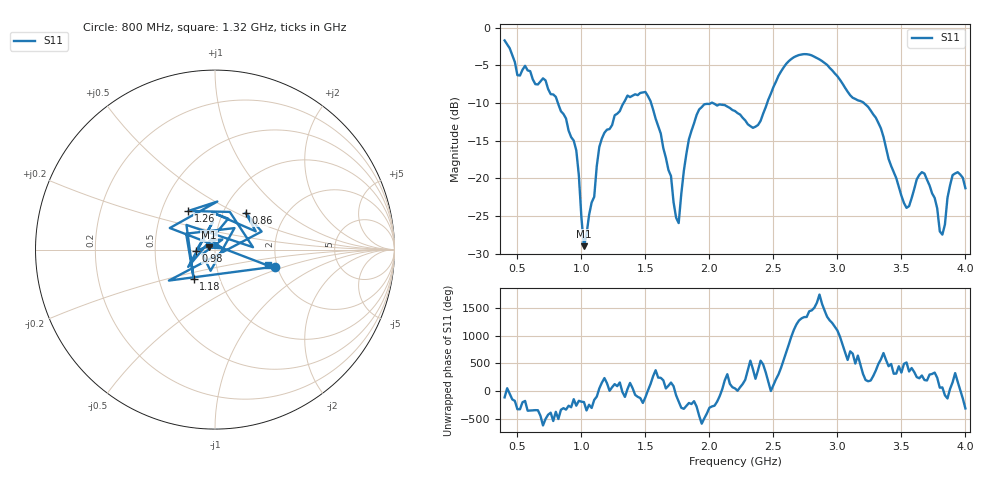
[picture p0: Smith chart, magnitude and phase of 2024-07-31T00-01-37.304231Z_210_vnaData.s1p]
!Created with skrf (http://scikit-rf.org).
# Hz S RI R 50.0
!freq ReS11 ImS11
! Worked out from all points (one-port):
!   181 points, 400 MHz to 4 GHz, reference 50 ohm
!   lowest |S11| = -29.0 dB at 1.02 GHz (marker M1), VSWR 1.07, Z = 46.8 + j1.12 ohm
!   |S11| at or under -10 dB: 816.2 MHz to 1.33 GHz (513.9 MHz wide, 47.9 % of centre); 1.544 GHz to 2.016 GHz (471.3 MHz wide, 26.5 % of centre); 3.206 GHz to end of sweep (the widest 3 of 4)
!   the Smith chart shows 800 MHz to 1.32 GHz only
!   S11 on the Smith chart (normalised r, x): 800 MHz: 1.94, -0.42; 860 MHz: 1.27, +0.56; 980 MHz: 0.81, -0.01; 1.18 GHz: 0.75, -0.25; 1.26 GHz: 0.68, +0.32; 1.32 GHz: 1.79, -0.35
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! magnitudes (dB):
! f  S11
! 400 MHz  -1.7
! 500 MHz  -6.3
! 800 MHz  -9.2
! 860 MHz  -11.5
! 960 MHz  -16.3
! 980 MHz  -19.6
! 1.02 GHz  -29.0
! 1.1 GHz  -22.5
! 1.14 GHz  -15.8
! 1.18 GHz  -14.0
! 1.26 GHz  -11.6
! 1.3 GHz  -11.1
! 1.32 GHz  -10.3
! 1.54 GHz  -9.8
! 1.76 GHz  -25.9
! 1.84 GHz  -14.8
! 1.92 GHz  -10.9
! 2.2 GHz  -11.1
! 2.38 GHz  -12.9
! 2.66 GHz  -3.9
! 2.88 GHz  -4.5
! 3.1 GHz  -9.0
! 3.3 GHz  -12.0
! 3.56 GHz  -23.7
! 3.68 GHz  -19.4
! 3.82 GHz  -27.5
! 3.9 GHz  -19.6
! 4 GHz  -21.3
